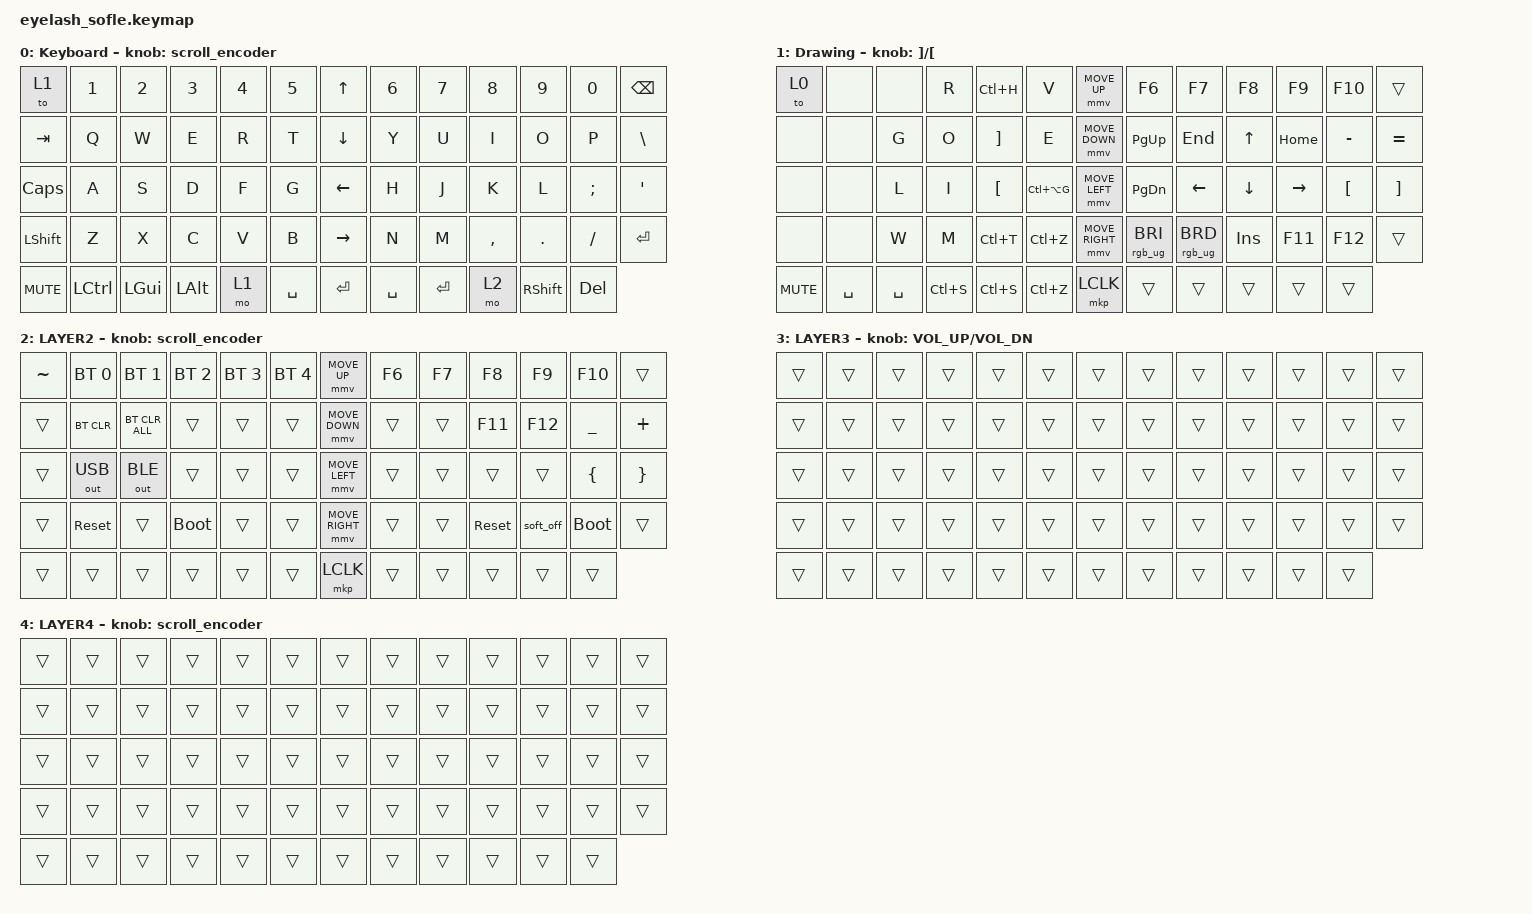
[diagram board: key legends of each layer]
#define ZMK_POINTING_DEFAULT_MOVE_VAL 1200  // 600
#define ZMK_POINTING_DEFAULT_SCRL_VAL 25   // 10

#include <input/processors.dtsi>
#include <zephyr/dt-bindings/input/input-event-codes.h>
#include <behaviors.dtsi>
#include <dt-bindings/zmk/bt.h>
#include <dt-bindings/zmk/keys.h>
#include <dt-bindings/zmk/outputs.h>
#include <dt-bindings/zmk/pointing.h>
#include <dt-bindings/zmk/rgb.h>

&mmv_input_listener { input-processors = <&zip_xy_scaler 2 1>; };

&msc_input_listener { input-processors = <&zip_scroll_scaler 2 1>; };

&msc {
    acceleration-exponent = <1>;      // 0
    time-to-max-speed-ms = <100>;       // 300
    delay-ms = <0>;                   // 0
};

&mmv {
    time-to-max-speed-ms = <500>;
    acceleration-exponent = <1>;
    trigger-period-ms = <16>;
};

&soft_off { hold-time-ms = <2000>; };

/ {
    scroll_encoder: scroll_encoder {
        compatible = "zmk,behavior-sensor-rotate";
        #sensor-binding-cells = <0>;
        bindings = <&msc SCRL_DOWN>, <&msc SCRL_UP>;

        tap-ms = <100>;
    };

    behaviors {
    };

    combos {
        compatible = "zmk,combos";

        softoff {
            bindings = <&soft_off>;
            key-positions = <14 28 40>;
        };
    };

    macros {
        SHIFT_MCLK: SHIFT_MCLK {
            compatible = "zmk,behavior-macro";
            #binding-cells = <0>;
            bindings =
                <&macro_press>,
                <&kp LEFT_SHIFT>,
                <&macro_press>,
                <&mkp MB3>,
                <&macro_pause_for_release>,
                <&macro_release>,
                <&kp LEFT_SHIFT &mkp MB3>;

            label = "SHIFT_MCLK";
        };
    };

    keymap {
        compatible = "zmk,keymap";

        layer0 {
            bindings = <
&to 1       &kp N1     &kp N2        &kp N3        &kp N4  &kp N5       &kp UP_ARROW     &kp N6     &kp N7     &kp N8     &kp N9           &kp N0      &kp BACKSPACE
&kp TAB     &kp Q      &kp W         &kp E         &kp R   &kp T        &kp DOWN_ARROW   &kp Y      &kp U      &kp I      &kp O            &kp P       &kp BSLH
&kp CAPS    &kp A      &kp S         &kp D         &kp F   &kp G        &kp LEFT_ARROW   &kp H      &kp J      &kp K      &kp L            &kp SEMI    &kp APOS
&kp LSHFT   &kp Z      &kp X         &kp C         &kp V   &kp B        &kp RIGHT_ARROW  &kp N      &kp M      &kp COMMA  &kp DOT          &kp FSLH    &kp ENTER
&kp C_MUTE  &kp LCTRL  &kp LEFT_GUI  &kp LEFT_ALT  &mo 1   &kp SPACE    &kp ENTER        &kp SPACE  &kp ENTER  &mo 2      &kp RIGHT_SHIFT  &kp DELETE
            >;

            sensor-bindings = <&scroll_encoder>;
            display-name = "Keyboard";
        };

        layer_1 {
            bindings = <
&to 0       &none       &none           &kp R            &kp LC(H)        &kp V              &mmv MOVE_UP     &kp F6           &kp F7           &kp F8      &kp F9     &kp F10           &trans
&none       &none       &kp G           &kp O            &kp RBKT         &kp E              &mmv MOVE_DOWN   &kp PG_UP        &kp END          &kp UP      &kp HOME   &kp MINUS         &kp EQUAL
&none       &none       &kp L           &kp I            &kp LBKT         &kp LC(LA(G))      &mmv MOVE_LEFT   &kp PG_DN        &kp LEFT         &kp DOWN    &kp RIGHT  &kp LEFT_BRACKET  &kp RIGHT_BRACKET
&none       &none       &kp W           &kp M            &kp LC(T)        &kp LC(Z)          &mmv MOVE_RIGHT  &rgb_ug RGB_BRI  &rgb_ug RGB_BRD  &kp INSERT  &kp F11    &kp F12           &trans
&kp C_MUTE  &kp SPACE   &kp SPACE       &kp LC(S)        &kp LC(S)        &kp LC(Z)          &mkp LCLK        &trans           &trans           &trans      &trans     &trans
            >;

            display-name = "Drawing";
            sensor-bindings = <&inc_dec_kp RBKT LBKT>;
        };

        layer_2 {
            bindings = <
&kp TILDE  &bt BT_SEL 0  &bt BT_SEL 1    &bt BT_SEL 2  &bt BT_SEL 3  &bt BT_SEL 4    &mmv MOVE_UP     &kp F6  &kp F7  &kp F8      &kp F9     &kp F10      &trans
&trans     &bt BT_CLR    &bt BT_CLR_ALL  &trans        &trans        &trans          &mmv MOVE_DOWN   &trans  &trans  &kp F11     &kp F12    &kp UNDER    &kp PLUS
&trans     &out OUT_USB  &out OUT_BLE    &trans        &trans        &trans          &mmv MOVE_LEFT   &trans  &trans  &trans      &trans     &kp LBRC     &kp RBRC
&trans     &sys_reset    &trans          &bootloader   &trans        &trans          &mmv MOVE_RIGHT  &trans  &trans  &sys_reset  &soft_off  &bootloader  &trans
&trans     &trans        &trans          &trans        &trans        &trans          &mkp LCLK        &trans  &trans  &trans      &trans     &trans
            >;

            display-name = "LAYER2";
            sensor-bindings = <&scroll_encoder>;
        };

        layer_3 {
            bindings = <
&trans  &trans  &trans  &trans  &trans  &trans    &trans  &trans  &trans  &trans  &trans  &trans  &trans
&trans  &trans  &trans  &trans  &trans  &trans    &trans  &trans  &trans  &trans  &trans  &trans  &trans
&trans  &trans  &trans  &trans  &trans  &trans    &trans  &trans  &trans  &trans  &trans  &trans  &trans
&trans  &trans  &trans  &trans  &trans  &trans    &trans  &trans  &trans  &trans  &trans  &trans  &trans
&trans  &trans  &trans  &trans  &trans  &trans    &trans  &trans  &trans  &trans  &trans  &trans
            >;

            display-name = "LAYER3";
            sensor-bindings = <&inc_dec_kp C_VOLUME_UP C_VOL_DN>;
        };

        layer_4 {
            bindings = <
&trans  &trans  &trans  &trans  &trans  &trans    &trans  &trans  &trans  &trans  &trans  &trans  &trans
&trans  &trans  &trans  &trans  &trans  &trans    &trans  &trans  &trans  &trans  &trans  &trans  &trans
&trans  &trans  &trans  &trans  &trans  &trans    &trans  &trans  &trans  &trans  &trans  &trans  &trans
&trans  &trans  &trans  &trans  &trans  &trans    &trans  &trans  &trans  &trans  &trans  &trans  &trans
&trans  &trans  &trans  &trans  &trans  &trans    &trans  &trans  &trans  &trans  &trans  &trans
            >;

            display-name = "LAYER4";
            sensor-bindings = <&scroll_encoder>;
        };
    };
};
